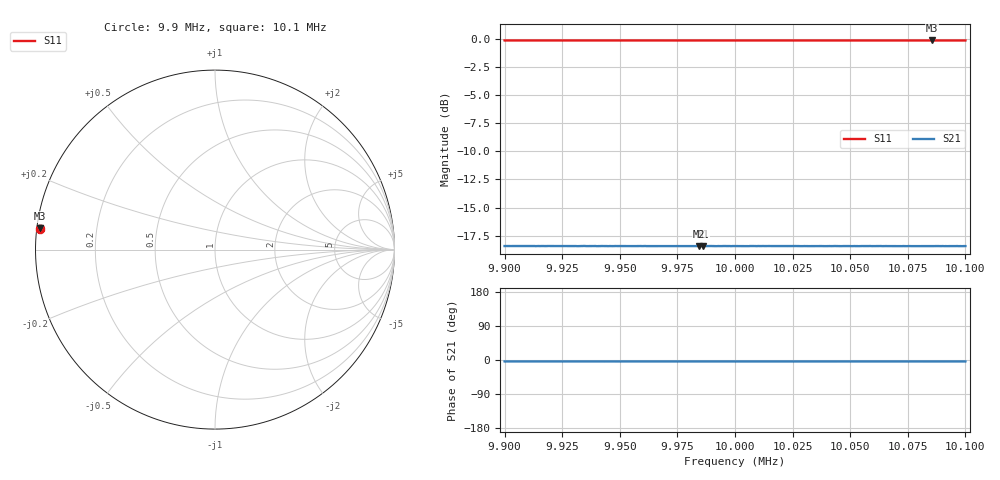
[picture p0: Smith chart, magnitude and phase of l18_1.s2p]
! NanoVNA-App
! Date: 2026-10-13 22:06:03
! Start: 9,9MHz Stop: 10,1MHz Points: 401
! S-Parameter data: F S11 S21 S12 S22
# Hz S RI R 50
!  Frequency  S11_Real  S11_Imag  S21_Real  S21_Imag  S12_Real  S12_Imag  S22_Real  S22_Imag
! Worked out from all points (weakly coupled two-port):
!   401 points, 9.9 MHz to 10.1 MHz, reference 50 ohm
!   highest |S21| = -18.40 dB at 9.986 MHz (marker M1); lowest = -18.4 dB at 9.9845 MHz (marker M2)
!   lowest |S11| = -0.2 dB at 10.085 MHz (marker M3), VSWR 104.47, Z = 0.48 + j3.01 ohm
!   |S11| at or under -10 dB: nowhere
!   S12 and S22 are empty: the file has one direction only
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9900000  -0.9745 0.1157  0.1198 -0.00788  0 0  0 0
9911000  -0.9745 0.1157  0.1199 -0.00788  0 0  0 0
9914500  -0.9745 0.1157  0.1199 -0.00793  0 0  0 0
9920000  -0.9745 0.1159  0.1198 -0.00789  0 0  0 0
9932500  -0.9744 0.1158  0.1199 -0.00789  0 0  0 0
9933500  -0.9744 0.116  0.1198 -0.00787  0 0  0 0
9940500  -0.9743 0.116  0.1198 -0.00805  0 0  0 0
9948500  -0.9743 0.1161  0.1199 -0.00793  0 0  0 0
9967000  -0.9742 0.1163  0.1197 -0.00796  0 0  0 0
9981500  -0.9743 0.1165  0.1199 -0.00807  0 0  0 0
9984500  -0.9742 0.1165  0.1197 -0.00798  0 0  0 0
9986000  -0.9743 0.1166  0.12 -0.00792  0 0  0 0
1e7  -0.9743 0.1167  0.1198 -0.00799  0 0  0 0
1.0013e7  -0.9741 0.1169  0.1198 -0.00794  0 0  0 0
1.00335e7  -0.9743 0.117  0.1198 -0.00807  0 0  0 0
1.0067e7  -0.9741 0.1175  0.1198 -0.00806  0 0  0 0
1.00715e7  -0.974 0.1176  0.1197 -0.00805  0 0  0 0
1.0083e7  -0.974 0.1177  0.1198 -0.00804  0 0  0 0
1.00855e7  -0.974 0.1176  0.1197 -0.00807  0 0  0 0
1.0087e7  -0.974 0.1177  0.1198 -0.00802  0 0  0 0
1.0092e7  -0.974 0.1177  0.1197 -0.00808  0 0  0 0
1.01e7  -0.974 0.1178  0.1198 -0.00799  0 0  0 0
